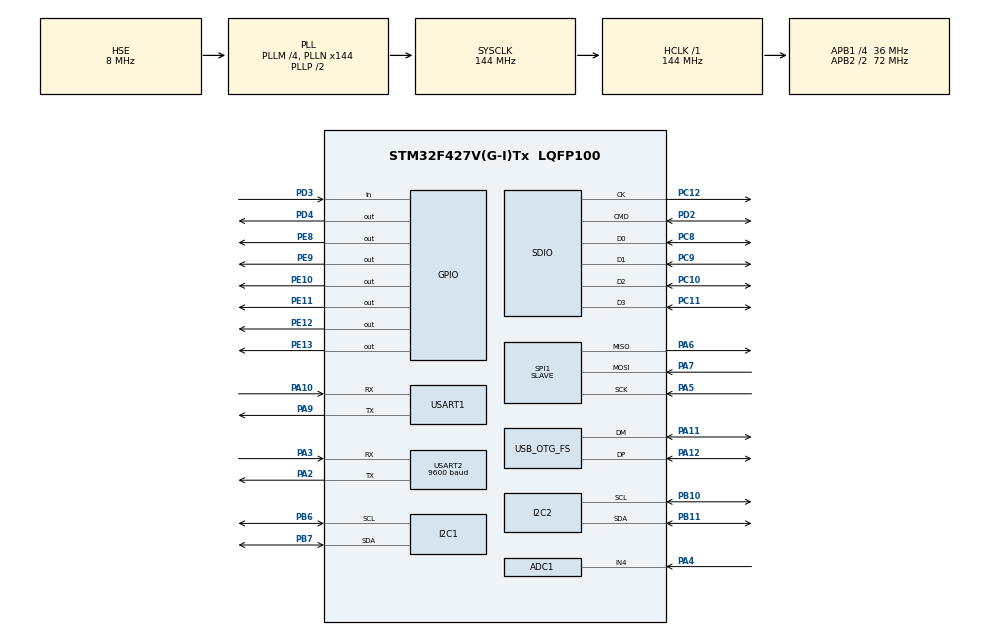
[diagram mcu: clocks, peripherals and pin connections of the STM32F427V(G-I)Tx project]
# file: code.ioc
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ADC1.Channel-0\#ChannelRegularConversion=ADC_CHANNEL_4
ADC1.ContinuousConvMode=DISABLE
ADC1.NbrOfConversionFlag=1
ADC1.Rank-0\#ChannelRegularConversion=1
ADC1.SamplingTime-0\#ChannelRegularConversion=ADC_SAMPLETIME_3CYCLES
ADC1.master=1
Dma.Request0=SDIO_RX
Dma.Request1=SDIO_TX
Dma.SDIO_RX.0.Direction=DMA_PERIPH_TO_MEMORY
Dma.SDIO_RX.0.FIFOMode=DMA_FIFOMODE_ENABLE
Dma.SDIO_RX.0.FIFOThreshold=DMA_FIFO_THRESHOLD_FULL
Dma.SDIO_RX.0.Instance=DMA2_Stream3
Dma.SDIO_RX.0.MemBurst=DMA_MBURST_INC4
Dma.SDIO_RX.0.MemDataAlignment=DMA_MDATAALIGN_WORD
Dma.SDIO_RX.0.MemInc=DMA_MINC_ENABLE
Dma.SDIO_RX.0.Mode=DMA_PFCTRL
Dma.SDIO_RX.0.PeriphBurst=DMA_PBURST_INC4
Dma.SDIO_RX.0.PeriphDataAlignment=DMA_PDATAALIGN_WORD
Dma.SDIO_RX.0.PeriphInc=DMA_PINC_DISABLE
Dma.SDIO_RX.0.Priority=DMA_PRIORITY_LOW
Dma.SDIO_TX.1.Direction=DMA_MEMORY_TO_PERIPH
Dma.SDIO_TX.1.FIFOMode=DMA_FIFOMODE_ENABLE
Dma.SDIO_TX.1.FIFOThreshold=DMA_FIFO_THRESHOLD_FULL
Dma.SDIO_TX.1.Instance=DMA2_Stream6
Dma.SDIO_TX.1.MemBurst=DMA_MBURST_INC4
Dma.SDIO_TX.1.MemDataAlignment=DMA_MDATAALIGN_WORD
Dma.SDIO_TX.1.MemInc=DMA_MINC_ENABLE
Dma.SDIO_TX.1.Mode=DMA_PFCTRL
Dma.SDIO_TX.1.PeriphBurst=DMA_PBURST_INC4
Dma.SDIO_TX.1.PeriphDataAlignment=DMA_PDATAALIGN_WORD
Dma.SDIO_TX.1.PeriphInc=DMA_PINC_DISABLE
Dma.SDIO_TX.1.Priority=DMA_PRIORITY_LOW
FATFS.BSP.number=1
FATFS.USE_DMA_CODE_SD=1
FATFS._FS_NORTC=1
FATFS._USE_LFN=1
FATFS._USE_TRIM=1
FATFS0.BSP.STBoard=false
FATFS0.BSP.api=Unknown
FATFS0.BSP.i2caddr=0
FATFS0.BSP.instance=PD3
FATFS0.BSP.ip=GPIO
FATFS0.BSP.mode=Input
FATFS0.BSP.name=Detect_SDIO
FATFS0.BSP.solution=PD3
I2C1.I2C_Mode=I2C_Fast
I2C1.OwnAddress=35
I2C2.I2C_Mode=I2C_Fast
Mcu.Family=STM32F4
Mcu.Name=STM32F427V(G-I)Tx
Mcu.Package=LQFP100
NVIC.DMA2_Stream3_IRQn=true\:0\:0\:false\:false\:true\:false\:true
NVIC.DMA2_Stream6_IRQn=true\:0\:0\:false\:false\:true\:false\:true
NVIC.OTG_FS_IRQn=true\:0\:0\:false\:false\:true\:false\:true
NVIC.PriorityGroup=NVIC_PRIORITYGROUP_4
NVIC.SDIO_IRQn=true\:0\:0\:false\:false\:true\:true\:true
NVIC.TIM8_TRG_COM_TIM14_IRQn=true\:0\:0\:false\:false\:true\:true\:true
NVIC.TIM8_UP_TIM13_IRQn=true\:0\:0\:false\:false\:true\:true\:true
NVIC.USART1_IRQn=true\:0\:0\:false\:false\:true\:true\:true
NVIC.USART2_IRQn=true\:0\:0\:false\:false\:true\:true\:true
PA10.Mode=Asynchronous
PA10.Signal=USART1_RX
PA11.Mode=Device_Only
PA11.Signal=USB_OTG_FS_DM
PA12.Mode=Device_Only
PA12.Signal=USB_OTG_FS_DP
PA13.Mode=Trace_Asynchronous_SW
PA13.Signal=SYS_JTMS-SWDIO
PA14.Mode=Trace_Asynchronous_SW
PA14.Signal=SYS_JTCK-SWCLK
PA2.Mode=Asynchronous
PA2.Signal=USART2_TX
PA3.Mode=Asynchronous
PA3.Signal=USART2_RX
PA4.Signal=ADCx_IN4
PA5.Mode=Full_Duplex_Slave
PA5.Signal=SPI1_SCK
PA6.Mode=Full_Duplex_Slave
PA6.Signal=SPI1_MISO
PA7.Mode=Full_Duplex_Slave
PA7.Signal=SPI1_MOSI
PA9.Mode=Asynchronous
PA9.Signal=USART1_TX
PB10.GPIO_Pu=GPIO_PULLUP
PB10.Mode=I2C
PB10.Signal=I2C2_SCL
PB11.GPIO_Pu=GPIO_PULLUP
PB11.Mode=I2C
PB11.Signal=I2C2_SDA
PB3.Mode=Trace_Asynchronous_SW
PB3.Signal=SYS_JTDO-SWO
PB6.GPIO_Pu=GPIO_PULLUP
PB6.Mode=I2C
PB6.Signal=I2C1_SCL
PB7.GPIO_Pu=GPIO_PULLUP
PB7.Mode=I2C
PB7.Signal=I2C1_SDA
PC10.Mode=SD_4_bits_Wide_bus
PC10.Signal=SDIO_D2
PC11.Mode=SD_4_bits_Wide_bus
PC11.Signal=SDIO_D3
PC12.Mode=SD_4_bits_Wide_bus
PC12.Signal=SDIO_CK
PC8.Mode=SD_4_bits_Wide_bus
PC8.Signal=SDIO_D0
PC9.Mode=SD_4_bits_Wide_bus
PC9.Signal=SDIO_D1
PD2.Mode=SD_4_bits_Wide_bus
PD2.Signal=SDIO_CMD
PD3.GPIO_PuPd=GPIO_PULLUP
PD3.Signal=GPIO_Input
PD4.Signal=GPIO_Output
PE10.Signal=GPIO_Output
PE11.Signal=GPIO_Output
PE12.Signal=GPIO_Output
PE13.Signal=GPIO_Output
PE8.Signal=GPIO_Output
PE9.Signal=GPIO_Output
PH0/OSC_IN.Mode=HSE-External-Oscillator
PH0/OSC_IN.Signal=RCC_OSC_IN
PH1/OSC_OUT.Mode=HSE-External-Oscillator
PH1/OSC_OUT.Signal=RCC_OSC_OUT
ProjectManager.HeapSize=0x200
ProjectManager.StackSize=0x400
ProjectManager.TargetToolchain=STM32CubeIDE
RCC.48MHZClocksFreq_Value=48000000
RCC.AHBFreq_Value=144000000
RCC.APB1CLKDivider=RCC_HCLK_DIV4
RCC.APB1Freq_Value=36000000
RCC.APB1TimFreq_Value=72000000
RCC.APB2CLKDivider=RCC_HCLK_DIV2
RCC.APB2Freq_Value=72000000
RCC.APB2TimFreq_Value=144000000
RCC.CortexFreq_Value=144000000
RCC.HCLKFreq_Value=144000000
RCC.HSE_VALUE=8000000
RCC.HSI_VALUE=16000000
RCC.LSE_VALUE=32768
RCC.PLLM=4
RCC.PLLN=144
RCC.PLLQ=6
RCC.SYSCLKFreq_VALUE=144000000
RCC.SYSCLKSource=RCC_SYSCLKSOURCE_PLLCLK
RCC.VCOOutputFreq_Value=288000000
SDIO.ClockDiv=0
SH.ADCx_IN4.0=ADC1_IN4,IN4
SPI1.Direction=SPI_DIRECTION_2LINES
SPI1.Mode=SPI_MODE_SLAVE
SPI1.VirtualType=VM_SLAVE
TIM13.ClockDivision=TIM_CLOCKDIVISION_DIV4
TIM13.Period=6
TIM13.Prescaler=3000
TIM14.AutoReloadPreload=TIM_AUTORELOAD_PRELOAD_DISABLE
TIM14.ClockDivision=TIM_CLOCKDIVISION_DIV1
TIM14.Period=1000
TIM14.Prescaler=720
USART1.VirtualMode=VM_ASYNC
USART2.BaudRate=9600
USART2.VirtualMode=VM_ASYNC
USB_DEVICE.CLASS_NAME_FS=CDC
USB_DEVICE.MANUFACTURER_STRING-CDC_FS=UCAR High Altitude Observatory
USB_DEVICE.PRODUCT_STRING_CDC_FS=DIMS IS1 VCP
USB_DEVICE.VirtualMode-CDC_FS=Cdc
USB_DEVICE.VirtualModeFS=Cdc_FS
USB_OTG_FS.VirtualMode=Device_Only
VP_FATFS_VS_SDIO.Mode=SDIO
VP_TIM13_VS_ClockSourceINT.Mode=Enable_Timer
VP_TIM14_VS_ClockSourceINT.Mode=Enable_Timer
VP_USB_DEVICE_VS_USB_DEVICE_CDC_FS.Mode=CDC_FS
board=custom

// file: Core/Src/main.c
/* USER CODE BEGIN Header */
/**
  ******************************************************************************
  * @file           : main.c
  * @brief          : Main program body
  ******************************************************************************
  * @attention
  *
  * <h2><center>&copy; Copyright (c) 2021 STMicroelectronics.
  * All rights reserved.</center></h2>
  *
  * This software component is licensed by ST under BSD 3-Clause license,
  * the "License"; You may not use this file except in compliance with the
  * License. You may obtain a copy of the License at:
  *                        opensource.org/licenses/BSD-3-Clause
  *
  ******************************************************************************
  */
/* USER CODE END Header */
#include "main.h"
#include "fatfs.h"
#include "usb_device.h"

/* USER CODE BEGIN Includes */

#include "defs.h"
#include "funcs.h"
#include "usbd_cdc_if.h"
#include "MS5607.h"
#include "GPS.h"
#include "ISRegisters.h"
#include "HR4000.h"
#include "sdfs.h"
#include "TMP117.h"
#include "AT30TS74.h"
#include "PID.h"

/* USER CODE END Includes */

/* USER CODE BEGIN PD */

#define LOGENVIRO (true)
#define LOGCOORDS (true)
#define USEHR4000 (true)
#define LOGTMP117 (false)
#define LOGAT30TS74 (true)
#define USESD (true)
#define USETMP117 (false)

/* USER CODE END PD */

ADC_HandleTypeDef hadc1;

I2C_HandleTypeDef hi2c1;
I2C_HandleTypeDef hi2c2;

SD_HandleTypeDef hsd;
DMA_HandleTypeDef hdma_sdio_rx;
DMA_HandleTypeDef hdma_sdio_tx;

SPI_HandleTypeDef hspi1;

TIM_HandleTypeDef htim13;
TIM_HandleTypeDef htim14;

UART_HandleTypeDef huart1;
UART_HandleTypeDef huart2;

/* USER CODE BEGIN PV */

// The main user code runs off of timer which decides when to run various routines
volatile bool DoPressureSensor = false;
volatile bool DoGPSTick = false;
// DoHR4000 runs a state machine which configures the HR4000 and takes spectra
volatile bool DoHR4000 = false;
// this is a relic from an earlier system that didn't return to state 0 between exposures
volatile bool DoGetSpectra = false;
volatile bool HRDataReady = false;
volatile bool DoSampleTMP117 = false;
volatile bool DoSampleAT30TS74 = false;
volatile bool DoUserUpdate = false;

volatile uint8_t Ticks_TMP117 = 0;
volatile uint8_t Ticks_AT30TS74 = 0;

volatile uint8_t PressureSensorState = 0;
volatile uint16_t ClockTick = 0;
volatile uint16_t HeaterTick = 0;
volatile uint64_t ElapsedSeconds = 0;
struct sUARTBuffer GPSUART = {0, 0, {0}, {0}};

volatile uint8_t hrbuf[8200] = {0};

static uint8_t I2C1_Input_Buffer[10] = {0};
static uint8_t I2C1_Output_Buffer[10] = {0};
static uint8_t I2C1_Command_Buffer[10] = {0};

// the code which uses these is broken
bool RegistersBusy = false;
uint32_t Registers[255];
uint32_t BackupRegisters[255];

volatile struct sHeaters Heaters;

/* USER CODE END PV */

void SystemClock_Config(void);
static void MX_GPIO_Init(void);
static void MX_DMA_Init(void);
static void MX_ADC1_Init(void);
static void MX_I2C1_Init(void);
static void MX_I2C2_Init(void);
static void MX_SDIO_SD_Init(void);
static void MX_USART2_UART_Init(void);
static void MX_TIM14_Init(void);
static void MX_USART1_UART_Init(void);
static void MX_TIM13_Init(void);
static void MX_SPI1_Init(void);

int main(void)
{
  /* USER CODE BEGIN 1 */

  struct sState State;
  struct sGPSFrame GPSFrame;
  struct sMS5607 MS5607;

  struct sHR4000 HR4000;
  struct sSpectra Spectra;
  struct sTMP117 TMP117_1, TMP117_2;
  struct sAT30TS74 AT30TS74_1, AT30TS74_2;
  struct sPID PID_1, PID_2, PID_3, PID_4, PID_5, PID_6;

  int i, j;

  uint8_t buffer[250];
  uint64_t t;

  bool Booting = true;

  /* USER CODE END 1 */

  /* MCU Configuration--------------------------------------------------------*/

  /* Reset of all peripherals, Initializes the Flash interface and the Systick. */
  HAL_Init();

  /* USER CODE BEGIN Init */
  //Initalize all of the Different Structures
  InitState(&State);
  InitGPSFrame(&GPSFrame);
  InitMS5607(&MS5607);
  InitRegisters(Registers, BackupRegisters);
  PID_InitStruct(&PID_1);
  PID_InitStruct(&PID_2);
  PID_InitStruct(&PID_3);
  PID_InitStruct(&PID_4);
  PID_InitStruct(&PID_5);
  PID_InitStruct(&PID_6);
  if (USETMP117)
  {
    TMP117_InitStruct(&TMP117_1, &hi2c2, 0);
    TMP117_InitStruct(&TMP117_2, &hi2c2, 1);
  }

  AT30TS74_InitStruct(&AT30TS74_1, &hi2c2, 3);
  AT30TS74_InitStruct(&AT30TS74_2, &hi2c2, 7);
//  AT30TS74_InitStruct(&AT30TS74_3, &hi2c2, 6);
//  AT30TS74_InitStruct(&AT30TS74_4, &hi2c2, 1);
  //Initilize the HR4000
  HR_InitStruct(&HR4000);

  /* USER CODE END Init */

  /* Configure the system clock */
  SystemClock_Config();

  /* Initialize all configured peripherals */
  MX_GPIO_Init();
  MX_DMA_Init();
  MX_ADC1_Init();
  MX_I2C1_Init();
  MX_I2C2_Init();
  MX_SDIO_SD_Init();
  MX_USART2_UART_Init();
  MX_FATFS_Init();
  MX_USB_DEVICE_Init();
  MX_TIM14_Init();
  MX_USART1_UART_Init();
  MX_TIM13_Init();
  MX_SPI1_Init();
  /* USER CODE BEGIN 2 */

  printf("-- REBOOT --\n");
  InitDWTTimer(); // system clock timer for creating us delays for onewire

  j = sizeof Spectra.RawData / sizeof Spectra.RawData[0];
  for (i=0;i<j;i++)
    Spectra.RawData[i]=0;  // zero the spectra data memory

// we keep track of the heater dwell, instead of the duty cycle, because it speeds up math in the heater PWM interrupt
// these default to a duty cycle of 0

  Heaters.HeaterDwell[0]=(100-00)/2;
  Heaters.HeaterDwell[1]=(100-00)/2;
  Heaters.HeaterDwell[2]=(100-00)/2;
  Heaters.HeaterDwell[3]=(100-00)/2;
  Heaters.HeaterDwell[4]=(100-00)/2;
  Heaters.HeaterDwell[5]=(100-00)/2;

// I don't remember the numbers that led to this being 2/2, probably something to do with the clock frequency
// this tells the PID code how long between updates
  PID_5.DeltaT = 2.0f/2.0f;
  PID_6.DeltaT = 2.0f/2.0f;

  // these are the target temperatures for heater controllers 5 and 6.
  PID_5.TargetP = 27.0f;
  PID_6.TargetP = 27.0f;

  // heaters are configured with a gain of three. With a gain of three, a temperature difference between
  // the set point and the measured temperature of 0.1 C will result in 30% duty cycle.

  PID_5.Kp = 3.0f;
  PID_6.Kp = 3.0f;

  // default configuration values for the HR4000

  HR4000.NextIntegrationTime_ms = 100;
  HR4000.Smoothing = 0;
  HR4000.Summing = 1;
  HR4000.Checksum = false;

  // we want to force configuring the integration time, so we set the NextIntegrationTime_ms to be different
  // from the current integration time. This is left over from before we forced a reset to state 0 in the
  // HR4000 state machine.

  HR4000.IntegrationTime_ms = HR4000.NextIntegrationTime_ms + 1;

  if (USESD)
  {
    while (SDFS_Mount())
    {
      printf("Could not mount SDFS. Sleeping for 3s and trying again.\n");
      HAL_Delay(3000);
    }
  }

  HAL_UART_Receive_IT(&huart2, &GPSUART.ByteBuffer,1);
  HAL_I2C_Slave_Receive_IT(&hi2c1, I2C1_Input_Buffer, 5);
  // we need the coefficients programmed into the MS5607 to interpret the data
  MS5607_GetCoefficients(&hi2c2, &MS5607);

  /* USER CODE END 2 */

  /* Infinite loop */
  /* USER CODE BEGIN WHILE */

  HAL_Delay(100); // give the devices a moment to compose themselves

  // Timers must be started after all structs are initialized!
  HAL_TIM_Base_Start_IT(&htim13); // Heater Timer
  HAL_TIM_Base_Start_IT(&htim14); // start our timer last

  while (1)
  {
    if (DoUserUpdate)
    {
      DoUserUpdate = false;
      printf("Booting %d, GPS fix %d\n",Booting, GPSFrame.Fixed);
    }

    if (Booting)
    {
      if (USESD)
        SDFS_SetupFS(&State, &GPSFrame);
      Booting = false;
    }

    // keep a single directory from becoming too full. FATFS does not handle large directories well.
    if (USESD & (State.CreatedFiles >= 250))
      SDFS_IncrementDirectory(&State);

    // This is a semaphore which is only set in the interrupt and only cleared in the main program
    // to notify us when data is ready to be written.

    if (HRDataReady)
    {
      HRDataReady = false;
      HR4000.DataReady = true;
    }

    if (DoSampleAT30TS74 && (!Booting))
    {
      DoSampleAT30TS74 = false;
      if (AT30TS74_1.Configured)
      {
        AT30TS74_GetTemperature(&AT30TS74_1);
        AT30TS74_GetTemperature(&AT30TS74_2);
        t = GetMilliseconds();
        printf("%ld.%03d - %.2f %.2f    %.0f %.0f \n",
            (uint32_t) (t/1000), (uint16_t) (t%1000),
            AT30TS74_1.Temperature,
            AT30TS74_2.Temperature,
            (float)(100 - 2 * Heaters.HeaterDwell[4]),
            (float)(100 - 2 * Heaters.HeaterDwell[5]));

        if (USESD & LOGAT30TS74)
        {
          t = GetMilliseconds();
          snprintf((char*) buffer, 200, "%ld.%03d - %.2f %.2f    %.0f %.0f \n",
            (uint32_t) (t/1000), (uint16_t) (t%1000),
            AT30TS74_1.Temperature,
            AT30TS74_2.Temperature,
            (float)(100 - 2 * Heaters.HeaterDwell[4]),
            (float)(100 - 2 * Heaters.HeaterDwell[5]));
          SDFS_WriteString(&State, buffer, "AT30TS74.txt");

          // we should have PID_Effort handle PID_SavePoint but I'm afraid to change anything now
          // so we leave it for flight

          // this code runs the PID calculations and sets the heater dwell length
          PID_SavePoint(&PID_5, AT30TS74_1.Temperature);
          Heaters.HeaterDwell[4] = 100 * (1-PID_Effort(&PID_5, AT30TS74_1.Temperature))/2;
          PID_SavePoint(&PID_6, AT30TS74_2.Temperature);
          Heaters.HeaterDwell[5] = 100 * (1-PID_Effort(&PID_6, AT30TS74_2.Temperature))/2;
        }
      }
      else
      {
        AT30TS74_Configure(&AT30TS74_1);
        AT30TS74_Configure(&AT30TS74_2);
      }
    }

    if (USETMP117 &&DoSampleTMP117 && (!Booting))
    {
      DoSampleTMP117 = false;
      if (TMP117_1.Configured)
      {
        TMP117_GetTemperature(&TMP117_1);
        TMP117_GetTemperature(&TMP117_2);

        t = GetMilliseconds();
        if (((TMP117_1.Index) % 2) == 0)
        {
          printf("%ld.%03d - ", (uint32_t) (t/1000), (uint16_t) (t%1000));
          printf("TMP %.3f %.3f\n", TMP117_1.Temperature, TMP117_2.Temperature);

          PID_SavePoint(&PID_1, TMP117_1.Temperature);
          Heaters.HeaterDwell[0] = 100 * (1-PID_Effort(&PID_1, TMP117_1.Temperature))/2;
        }

        if (USESD & LOGTMP117)
        {
          snprintf((char*) buffer, 200, "%ld.%03d - %.3f %.3f\n", (uint32_t) (t/1000), (uint16_t) (t%1000), TMP117_1.Temperature, TMP117_2.Temperature);
          SDFS_WriteString(&State, buffer, "TMP117.txt");
        }
      }
      else
      {
        TMP117_Configure(&TMP117_1);
        TMP117_Configure(&TMP117_2);
      }
    }

    // This is left over from before we reset the state back to 0 after getting a spectra
    if (DoGetSpectra && USEHR4000 && (!Booting))
    {
      DoGetSpectra = false;
      HR4000.GetSpectra = true;
    }

    if (DoHR4000 && USEHR4000 && (!Booting))
    {
      DoHR4000 = false;
      HR_Execute(&State, &HR4000, &Spectra, &GPSFrame);
      if (USESD & Spectra.ReadyToSave)
      {
        Spectra.ReadyToSave = false;
        SDFS_WriteSpectraBinary(&State, &Spectra, &GPSFrame);
      }
    }

    // we want this before processing a GPS sentence
    if (DoGPSTick)
    {
      DoGPSTick = false;
      GPSFrame.Ticks += 1;
    }

    if (DoPressureSensor && (!Booting))
    {
      DoPressureSensor = false;
      switch (PressureSensorState)
      {
        case 0:
          MS5607_StartConversion(&hi2c2, false);
          break;
        case 1:
          MS5607.D[1] = MS5607_ReadADC(&hi2c2);
          MS5607_StartConversion(&hi2c2, true);
          break;
        case 2:
          MS5607.D[2] = MS5607_ReadADC(&hi2c2);
          MS5607_CalculatePressure(&MS5607, &(State.MSTemperature), &(State.MSPressure));
//          printf("Temperature: %.2f, Pressure: %.2f\n", (double) State.MSTemperature/100, (double) State.MSPressure/100);
          if (USESD & LOGENVIRO)
            SDFS_WriteEnvironmental(&State, &GPSFrame);
          break;
      }
    }

    if (GPSUART.ReadySentence[0] != 0)
    {
      if ((strncmp((char*) GPSUART.ReadySentence, "$GNRMC", 5) == 0) ||
          (strncmp((char*) GPSUART.ReadySentence, "$GNGGA", 5) == 0))  // if header matches
      {
        if (strncmp((char*) GPSUART.ReadySentence, "$GNRMC", 5) == 0)  // if header matches
          strncpy(GPSFrame.RMCSentence, (char*) GPSUART.ReadySentence, 90);
        else if (strncmp((char*) GPSUART.ReadySentence, "$GNGGA", 5) == 0)  // if header matches
          strncpy(GPSFrame.GGASentence, (char*) GPSUART.ReadySentence, 90);
        if (!ProcessGPSFrame(&GPSFrame))
        {
//          printf("Time: %ld   Date: %ld   Lat: %f   Long: %f \n", GPSFrame.Time, GPSFrame.Date, GPSFrame.Latitude, GPSFrame.Longitude);
//          printf("GPS Time: %ld\n", GPSFrame.Time);
          if (USESD & LOGCOORDS)
            SDFS_WriteCoords(&State, &GPSFrame);
        }
      }
      GPSUART.ReadySentence[0] = 0; // flag that we've processed this sentence.
    }

    if (I2C1_Command_Buffer[0] != 0)
      ProcessI2CCommand(I2C1_Command_Buffer, &State);

    //This is untested and likely broken.
    //LoadRegisters(Registers, BackupRegisters, &RegistersBusy, &GPSFrame, &MS5607, &State);

    /* USER CODE END WHILE */

  }
}

void SystemClock_Config(void)
{
  RCC_OscInitTypeDef RCC_OscInitStruct = {0};
  RCC_ClkInitTypeDef RCC_ClkInitStruct = {0};

  /** Configure the main internal regulator output voltage
  */
  __HAL_RCC_PWR_CLK_ENABLE();
  __HAL_PWR_VOLTAGESCALING_CONFIG(PWR_REGULATOR_VOLTAGE_SCALE1);
  /** Initializes the RCC Oscillators according to the specified parameters
  * in the RCC_OscInitTypeDef structure.
  */
  RCC_OscInitStruct.OscillatorType = RCC_OSCILLATORTYPE_HSE;
  RCC_OscInitStruct.HSEState = RCC_HSE_ON;
  RCC_OscInitStruct.PLL.PLLState = RCC_PLL_ON;
  RCC_OscInitStruct.PLL.PLLSource = RCC_PLLSOURCE_HSE;
  RCC_OscInitStruct.PLL.PLLM = 4;
  RCC_OscInitStruct.PLL.PLLN = 144;
  RCC_OscInitStruct.PLL.PLLP = RCC_PLLP_DIV2;
  RCC_OscInitStruct.PLL.PLLQ = 6;
  if (HAL_RCC_OscConfig(&RCC_OscInitStruct) != HAL_OK)
  {
    Error_Handler();
  }
  /** Initializes the CPU, AHB and APB buses clocks
  */
  RCC_ClkInitStruct.ClockType = RCC_CLOCKTYPE_HCLK|RCC_CLOCKTYPE_SYSCLK
                              |RCC_CLOCKTYPE_PCLK1|RCC_CLOCKTYPE_PCLK2;
  RCC_ClkInitStruct.SYSCLKSource = RCC_SYSCLKSOURCE_PLLCLK;
  RCC_ClkInitStruct.AHBCLKDivider = RCC_SYSCLK_DIV1;
  RCC_ClkInitStruct.APB1CLKDivider = RCC_HCLK_DIV4;
  RCC_ClkInitStruct.APB2CLKDivider = RCC_HCLK_DIV2;

  if (HAL_RCC_ClockConfig(&RCC_ClkInitStruct, FLASH_LATENCY_4) != HAL_OK)
  {
    Error_Handler();
  }
}

static void MX_ADC1_Init(void)
{

  ADC_ChannelConfTypeDef sConfig = {0};

  /** Configure the global features of the ADC (Clock, Resolution, Data Alignment and number of conversion)
  */
  hadc1.Instance = ADC1;
  hadc1.Init.ClockPrescaler = ADC_CLOCK_SYNC_PCLK_DIV2;
  hadc1.Init.Resolution = ADC_RESOLUTION_12B;
  hadc1.Init.ScanConvMode = DISABLE;
  hadc1.Init.ContinuousConvMode = DISABLE;
  hadc1.Init.DiscontinuousConvMode = DISABLE;
  hadc1.Init.ExternalTrigConvEdge = ADC_EXTERNALTRIGCONVEDGE_NONE;
  hadc1.Init.ExternalTrigConv = ADC_SOFTWARE_START;
  hadc1.Init.DataAlign = ADC_DATAALIGN_RIGHT;
  hadc1.Init.NbrOfConversion = 1;
  hadc1.Init.DMAContinuousRequests = DISABLE;
  hadc1.Init.EOCSelection = ADC_EOC_SINGLE_CONV;
  if (HAL_ADC_Init(&hadc1) != HAL_OK)
  {
    Error_Handler();
  }
  /** Configure for the selected ADC regular channel its corresponding rank in the sequencer and its sample time.
  */
  sConfig.Channel = ADC_CHANNEL_4;
  sConfig.Rank = 1;
  sConfig.SamplingTime = ADC_SAMPLETIME_3CYCLES;
  if (HAL_ADC_ConfigChannel(&hadc1, &sConfig) != HAL_OK)
  {
    Error_Handler();
  }

}

static void MX_I2C1_Init(void)
{

  hi2c1.Instance = I2C1;
  hi2c1.Init.ClockSpeed = 400000;
  hi2c1.Init.DutyCycle = I2C_DUTYCYCLE_2;
  hi2c1.Init.OwnAddress1 = 70;
  hi2c1.Init.AddressingMode = I2C_ADDRESSINGMODE_7BIT;
  hi2c1.Init.DualAddressMode = I2C_DUALADDRESS_DISABLE;
  hi2c1.Init.OwnAddress2 = 0;
  hi2c1.Init.GeneralCallMode = I2C_GENERALCALL_DISABLE;
  hi2c1.Init.NoStretchMode = I2C_NOSTRETCH_DISABLE;
  if (HAL_I2C_Init(&hi2c1) != HAL_OK)
  {
    Error_Handler();
  }
  /** Configure Analogue filter
  */
  if (HAL_I2CEx_ConfigAnalogFilter(&hi2c1, I2C_ANALOGFILTER_ENABLE) != HAL_OK)
  {
    Error_Handler();
  }
  /** Configure Digital filter
  */
  if (HAL_I2CEx_ConfigDigitalFilter(&hi2c1, 0) != HAL_OK)
  {
    Error_Handler();
  }

}

static void MX_I2C2_Init(void)
{

  hi2c2.Instance = I2C2;
  hi2c2.Init.ClockSpeed = 400000;
  hi2c2.Init.DutyCycle = I2C_DUTYCYCLE_2;
  hi2c2.Init.OwnAddress1 = 0;
  hi2c2.Init.AddressingMode = I2C_ADDRESSINGMODE_7BIT;
  hi2c2.Init.DualAddressMode = I2C_DUALADDRESS_DISABLE;
  hi2c2.Init.OwnAddress2 = 0;
  hi2c2.Init.GeneralCallMode = I2C_GENERALCALL_DISABLE;
  hi2c2.Init.NoStretchMode = I2C_NOSTRETCH_DISABLE;
  if (HAL_I2C_Init(&hi2c2) != HAL_OK)
  {
    Error_Handler();
  }
  /** Configure Analogue filter
  */
  if (HAL_I2CEx_ConfigAnalogFilter(&hi2c2, I2C_ANALOGFILTER_ENABLE) != HAL_OK)
  {
    Error_Handler();
  }
  /** Configure Digital filter
  */
  if (HAL_I2CEx_ConfigDigitalFilter(&hi2c2, 0) != HAL_OK)
  {
    Error_Handler();
  }

}

static void MX_SDIO_SD_Init(void)
{

  hsd.Instance = SDIO;
  hsd.Init.ClockEdge = SDIO_CLOCK_EDGE_RISING;
  hsd.Init.ClockBypass = SDIO_CLOCK_BYPASS_DISABLE;
  hsd.Init.ClockPowerSave = SDIO_CLOCK_POWER_SAVE_DISABLE;
  hsd.Init.BusWide = SDIO_BUS_WIDE_1B;
  hsd.Init.HardwareFlowControl = SDIO_HARDWARE_FLOW_CONTROL_DISABLE;
  hsd.Init.ClockDiv = 0;

}

static void MX_SPI1_Init(void)
{

  /* SPI1 parameter configuration*/
  hspi1.Instance = SPI1;
  hspi1.Init.Mode = SPI_MODE_SLAVE;
  hspi1.Init.Direction = SPI_DIRECTION_2LINES;
  hspi1.Init.DataSize = SPI_DATASIZE_8BIT;
  hspi1.Init.CLKPolarity = SPI_POLARITY_LOW;
  hspi1.Init.CLKPhase = SPI_PHASE_1EDGE;
  hspi1.Init.NSS = SPI_NSS_SOFT;
  hspi1.Init.FirstBit = SPI_FIRSTBIT_MSB;
  hspi1.Init.TIMode = SPI_TIMODE_DISABLE;
  hspi1.Init.CRCCalculation = SPI_CRCCALCULATION_DISABLE;
  hspi1.Init.CRCPolynomial = 10;
  if (HAL_SPI_Init(&hspi1) != HAL_OK)
  {
    Error_Handler();
  }

}

static void MX_TIM13_Init(void)
{

  htim13.Instance = TIM13;
  htim13.Init.Prescaler = 3000;
  htim13.Init.CounterMode = TIM_COUNTERMODE_UP;
  htim13.Init.Period = 6;
  htim13.Init.ClockDivision = TIM_CLOCKDIVISION_DIV4;
  htim13.Init.AutoReloadPreload = TIM_AUTORELOAD_PRELOAD_DISABLE;
  if (HAL_TIM_Base_Init(&htim13) != HAL_OK)
  {
    Error_Handler();
  }

}

static void MX_TIM14_Init(void)
{

  htim14.Instance = TIM14;
  htim14.Init.Prescaler = 720;
  htim14.Init.CounterMode = TIM_COUNTERMODE_UP;
  htim14.Init.Period = 1000;
  htim14.Init.ClockDivision = TIM_CLOCKDIVISION_DIV1;
  htim14.Init.AutoReloadPreload = TIM_AUTORELOAD_PRELOAD_DISABLE;
  if (HAL_TIM_Base_Init(&htim14) != HAL_OK)
  {
    Error_Handler();
  }

}

static void MX_USART1_UART_Init(void)
{

  huart1.Instance = USART1;
  huart1.Init.BaudRate = 115200;
  huart1.Init.WordLength = UART_WORDLENGTH_8B;
  huart1.Init.StopBits = UART_STOPBITS_1;
  huart1.Init.Parity = UART_PARITY_NONE;
  huart1.Init.Mode = UART_MODE_TX_RX;
  huart1.Init.HwFlowCtl = UART_HWCONTROL_NONE;
  huart1.Init.OverSampling = UART_OVERSAMPLING_16;
  if (HAL_UART_Init(&huart1) != HAL_OK)
  {
    Error_Handler();
  }

}

static void MX_USART2_UART_Init(void)
{

  huart2.Instance = USART2;
  huart2.Init.BaudRate = 9600;
  huart2.Init.WordLength = UART_WORDLENGTH_8B;
  huart2.Init.StopBits = UART_STOPBITS_1;
  huart2.Init.Parity = UART_PARITY_NONE;
  huart2.Init.Mode = UART_MODE_TX_RX;
  huart2.Init.HwFlowCtl = UART_HWCONTROL_NONE;
  huart2.Init.OverSampling = UART_OVERSAMPLING_16;
  if (HAL_UART_Init(&huart2) != HAL_OK)
  {
    Error_Handler();
  }

}

static void MX_DMA_Init(void)
{

  /* DMA controller clock enable */
  __HAL_RCC_DMA2_CLK_ENABLE();

  /* DMA interrupt init */
  /* DMA2_Stream3_IRQn interrupt configuration */
  HAL_NVIC_SetPriority(DMA2_Stream3_IRQn, 0, 0);
  HAL_NVIC_EnableIRQ(DMA2_Stream3_IRQn);
  /* DMA2_Stream6_IRQn interrupt configuration */
  HAL_NVIC_SetPriority(DMA2_Stream6_IRQn, 0, 0);
  HAL_NVIC_EnableIRQ(DMA2_Stream6_IRQn);

}

static void MX_GPIO_Init(void)
{
  GPIO_InitTypeDef GPIO_InitStruct = {0};

  /* GPIO Ports Clock Enable */
  __HAL_RCC_GPIOH_CLK_ENABLE();
  __HAL_RCC_GPIOA_CLK_ENABLE();
  __HAL_RCC_GPIOE_CLK_ENABLE();
  __HAL_RCC_GPIOB_CLK_ENABLE();
  __HAL_RCC_GPIOC_CLK_ENABLE();
  __HAL_RCC_GPIOD_CLK_ENABLE();

  /*Configure GPIO pin Output Level */
  HAL_GPIO_WritePin(GPIOE, GPIO_PIN_8|GPIO_PIN_9|GPIO_PIN_10|GPIO_PIN_11
                          |GPIO_PIN_12|GPIO_PIN_13, GPIO_PIN_RESET);

  /*Configure GPIO pin Output Level */
  HAL_GPIO_WritePin(GPIOD, GPIO_PIN_4, GPIO_PIN_RESET);

  /*Configure GPIO pins : PE8 PE9 PE10 PE11
                           PE12 PE13 */
  GPIO_InitStruct.Pin = GPIO_PIN_8|GPIO_PIN_9|GPIO_PIN_10|GPIO_PIN_11
                          |GPIO_PIN_12|GPIO_PIN_13;
  GPIO_InitStruct.Mode = GPIO_MODE_OUTPUT_PP;
  GPIO_InitStruct.Pull = GPIO_NOPULL;
  GPIO_InitStruct.Speed = GPIO_SPEED_FREQ_LOW;
  HAL_GPIO_Init(GPIOE, &GPIO_InitStruct);

  /*Configure GPIO pin : PD3 */
  GPIO_InitStruct.Pin = GPIO_PIN_3;
  GPIO_InitStruct.Mode = GPIO_MODE_INPUT;
  GPIO_InitStruct.Pull = GPIO_PULLUP;
  HAL_GPIO_Init(GPIOD, &GPIO_InitStruct);

  /*Configure GPIO pin : PD4 */
  GPIO_InitStruct.Pin = GPIO_PIN_4;
  GPIO_InitStruct.Mode = GPIO_MODE_OUTPUT_PP;
  GPIO_InitStruct.Pull = GPIO_NOPULL;
  GPIO_InitStruct.Speed = GPIO_SPEED_FREQ_LOW;
  HAL_GPIO_Init(GPIOD, &GPIO_InitStruct);

}

/* USER CODE BEGIN 4 */

int _write(int file, char *ptr, int len)
{
  int i, res;
  for (i=0;i<2050; i++)
  {
    res = CDC_Transmit_FS((uint8_t*) ptr, len);  // USB out
    if (res == USBD_OK)
      break;
  }
  for (int i = 0; i < len; i++)
    ITM_SendChar((*ptr++));              // debugger out
  return len;
}

void HAL_TIM_PeriodElapsedCallback(TIM_HandleTypeDef *htim)
{
  uint8_t i;
  if (htim->Instance == htim13.Instance)  // deal with the software PWM
  {
    HeaterTick = (HeaterTick + 1) % 100;
    for (i=0;i<6;i++)
    {
      if ((HeaterTick > Heaters.HeaterDwell[i])
        && (HeaterTick < (100 - Heaters.HeaterDwell[i])))
        SetHeater(i, true);
      else
        SetHeater(i, false);
    }
  }

  if (htim->Instance == htim14.Instance)  // this is our 10 ms processing tick
  {
    ClockTick = (ClockTick + 1) % 100;
    // this should be after the ClockTick increment
    if (ClockTick == 0)
    {
      ElapsedSeconds++;
      if (ElapsedSeconds%10 == 0)
        DoUserUpdate = true;
    }

    if ((ElapsedSeconds > 20) && ((ElapsedSeconds%5)==0) && (ClockTick == 0))
      DoGetSpectra = true;

    DoGPSTick = true;
    DoHR4000 = true;

    Ticks_TMP117++;
    Ticks_AT30TS74++;

    if (Ticks_TMP117 >= 13)
    {
      Ticks_TMP117 = 0;
      DoSampleTMP117 = true;
    }

    if (Ticks_AT30TS74 >=100)
    {
      Ticks_AT30TS74 = 0;
      DoSampleAT30TS74 = true;
    }

    if (ClockTick == 20)
    {
      DoPressureSensor = true;
      PressureSensorState = 0;
    }
    if (ClockTick == 22)
    {
      DoPressureSensor = true;
      PressureSensorState = 1;
    }
    if (ClockTick == 24)
    {
      DoPressureSensor = true;
      PressureSensorState = 2;
    }
  }
}

void HAL_I2C_SlaveRxCpltCallback(I2C_HandleTypeDef *i2c)
{
  int i;
  uint32_t retval = 0;
  if (i2c->Instance == I2C1)
  {
    if (I2C1_Input_Buffer[0] < 0x80) // read
    {
      if (RegistersBusy)
        retval = BackupRegisters[I2C1_Input_Buffer[0]];
      else
        retval = Registers[I2C1_Input_Buffer[0]];
      I2C1_Output_Buffer[0] = I2C1_Input_Buffer[0];
      I2C1_Output_Buffer[1] = (retval >> 24) & 0xff;
      I2C1_Output_Buffer[2] = (retval >> 16) & 0xff;
      I2C1_Output_Buffer[3] = (retval >> 8) & 0xff;
      I2C1_Output_Buffer[4] = retval & 0xff;
      HAL_I2C_Slave_Transmit_IT(i2c,I2C1_Output_Buffer, 5);
    }
    else // write
    {
      for (i=0;i<5;i++)
        I2C1_Command_Buffer[i] = I2C1_Input_Buffer[i];
    }
  }
}

void HAL_UART_RxCpltCallback(UART_HandleTypeDef *huart)
{
  if (huart->Instance == USART2) // GPS
  {
    if ((GPSUART.ByteBuffer != 0) && (GPSUART.ByteBuffer != '\r')) // ignore carriage returns
    {
      if (GPSUART.ByteBuffer == '\n')
      {
        GPSUART.ReceiveBuffer[GPSUART.Index++] = 0;
        memcpy(GPSUART.ReadySentence, GPSUART.ReceiveBuffer, GPSUART.Index);
        GPSUART.Index = 0;
      }
      else
      {
        GPSUART.ReceiveBuffer[GPSUART.Index++] = GPSUART.ByteBuffer;
        if (GPSUART.Index >= 90) // we have junk in our buffer
          GPSUART.Index = 0;
      }
    }
    HAL_UART_Receive_IT(&huart2, &GPSUART.ByteBuffer,1);
  }
  if (huart->Instance == USART1) // HR4000
  {
    HRDataReady = true;
  }

}

void HAL_UART_AbortCpltCallback(UART_HandleTypeDef *huart)
{

}
/* USER CODE END 4 */

void Error_Handler(void)
{
  __disable_irq();
  while (1)
  {
  }
}
